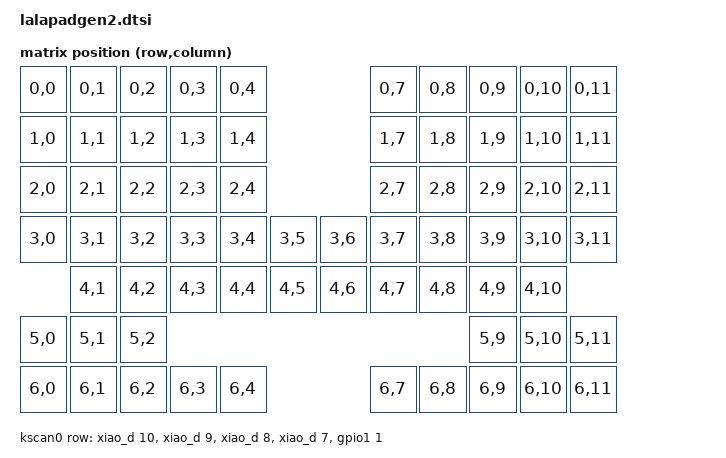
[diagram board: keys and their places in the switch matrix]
#include <dt-bindings/zmk/matrix_transform.h>
#include <dt-bindings/zmk/zip_dynamic_scale.h>
#include <zephyr/dt-bindings/input/input-event-codes.h>
#include <input/processors.dtsi>
#include "lalapadgen2-layouts.dtsi"
#include <behaviors/cursor_slow.dtsi>
#include <behaviors/tp_keys.dtsi>
// トラックパッドのタップ・ジェスチャーを割り当てるキーの位置 POS_TP_*（自作モジュールの C と共通）
#include <dt-bindings/lalapad/tp_positions.h>

/ {
    chosen {
        zmk,physical-layout = &lalapadgen2_physical_layout;
    };

    default_transform: keymap_transform_0 {
        compatible = "zmk,matrix-transform";
        columns = <12>;
        rows = <7>;
        map = <
            RC(0,0)	RC(0,1)	RC(0,2)	RC(0,3)	RC(0,4)	        	    RC(0,7)	RC(0,8)	RC(0,9)	RC(0,10) RC(0,11)
            RC(1,0)	RC(1,1)	RC(1,2)	RC(1,3)	RC(1,4)	       		    RC(1,7)	RC(1,8)	RC(1,9)	RC(1,10) RC(1,11)
            RC(2,0)	RC(2,1)	RC(2,2)	RC(2,3)	RC(2,4)	       		    RC(2,7)	RC(2,8)	RC(2,9)	RC(2,10) RC(2,11)
            RC(3,0)	RC(3,1)	RC(3,2)	RC(3,3)	RC(3,4)	RC(3,5)	RC(3,6)	RC(3,7)	RC(3,8)	RC(3,9)	RC(3,10) RC(3,11)
                    RC(4,1) RC(4,2)	RC(4,3)	RC(4,4)	RC(4,5)	RC(4,6)	RC(4,7)	RC(4,8)	RC(4,9)	RC(4,10)
            RC(5,0)	RC(5,1) RC(5,2)                                                 RC(5,9)	RC(5,10) RC(5,11)
            RC(6,0)	RC(6,1) RC(6,2)	RC(6,3)	RC(6,4)                 RC(6,7)	RC(6,8) RC(6,9)	RC(6,10) RC(6,11)
        >;
    };

    kscan0: kscan {
        compatible = "zmk,kscan-gpio-matrix";
        wakeup-source;

        diode-direction = "col2row";
        row-gpios
            = <&xiao_d 10 (GPIO_ACTIVE_HIGH | GPIO_PULL_DOWN)>
            , <&xiao_d 9 (GPIO_ACTIVE_HIGH | GPIO_PULL_DOWN)>
            , <&xiao_d 8 (GPIO_ACTIVE_HIGH | GPIO_PULL_DOWN)>
            , <&xiao_d 7 (GPIO_ACTIVE_HIGH | GPIO_PULL_DOWN)>
            , <&gpio1  1 (GPIO_ACTIVE_HIGH | GPIO_PULL_DOWN)>
            ;
    };

    // 右のトラックパッドの入力を、子機の右から親機の左へ中継する（右の overlay で device を指定して送る側にする。
    // 親機の左では、受け取った入力を出す入力デバイスになる）。左のトラックパッドは親機に直接つながっているので中継しない
    split_inputs {
        #address-cells = <1>;
        #size-cells = <0>;

        trackpad_split_R: trackpad_split_R@0 {
            compatible = "zmk,input-split";
            reg = <0>;
        };
    };

    behaviors {
        tp_to_pos: tp_to_pos {
            compatible = "zmk,behavior-trackpad-to-pos";
            #binding-cells = <1>;
        };
    };

    trackpad_key_behaviors_R: trackpad_key_behaviors_R {
        compatible = "zmk,input-processor-behaviors-consume";
        #input-processor-cells = <0>;
        type = <INPUT_EV_KEY>;
        codes = <
                    INPUT_BTN_0
                    INPUT_BTN_1
                    INPUT_BTN_2
                    INPUT_BTN_3
                    INPUT_BTN_4
                    INPUT_BTN_5
                    INPUT_BTN_6
                    INPUT_BTN_7
                    >;
        bindings = <
                    &tp_to_pos  POS_TP_LCLK_R
                    &tp_to_pos  POS_TP_RCLK_R
                    &tp_to_pos  POS_TP_MCLK_R
                    &tp_to_pos  POS_TP_SWIPE_RIGHT_R
                    &tp_to_pos  POS_TP_SWIPE_LEFT_R
                    &tp_to_pos  POS_TP_SWIPE_UP_R
                    &tp_to_pos  POS_TP_SWIPE_DOWN_R
                    &tp_to_pos  POS_TP_PINCH_R
                    >;
    };
    trackpad_key_behaviors_L: trackpad_key_behaviors_L {
        compatible = "zmk,input-processor-behaviors-consume";
        #input-processor-cells = <0>;
        type = <INPUT_EV_KEY>;
        codes = <
                    INPUT_BTN_0
                    INPUT_BTN_1
                    INPUT_BTN_2
                    INPUT_BTN_3
                    INPUT_BTN_4
                    INPUT_BTN_5
                    INPUT_BTN_6
                    INPUT_BTN_7
                    >;
        bindings = <
                    &tp_to_pos  POS_TP_LCLK_L
                    &tp_to_pos  POS_TP_RCLK_L
                    &tp_to_pos  POS_TP_MCLK_L
                    &tp_to_pos  POS_TP_SWIPE_RIGHT_L
                    &tp_to_pos  POS_TP_SWIPE_LEFT_L
                    &tp_to_pos  POS_TP_SWIPE_UP_L
                    &tp_to_pos  POS_TP_SWIPE_DOWN_L
                    &tp_to_pos  POS_TP_PINCH_L
                    >;
    };

    zip_dynamic_xy_scaler: zip_dynamic_xy_scaler {
        compatible = "zmk,input-processor-dynamic-scaler";
        #input-processor-cells = <0>;
        type = <INPUT_EV_REL>;
        codes = <INPUT_REL_X INPUT_REL_Y>;
        scale-group = <ZDS_XY>;
        track-remainders;
    };

    zip_dynamic_scroll_scaler: zip_dynamic_scroll_scaler {
        compatible = "zmk,input-processor-dynamic-scaler";
        #input-processor-cells = <0>;
        type = <INPUT_EV_REL>;
        codes = <INPUT_REL_WHEEL INPUT_REL_HWHEEL>;
        scale-group = <ZDS_SC>;
        track-remainders;
    };

    // オートマウスレイヤー: トラックパッド操作でマウスレイヤーを一時的に有効化する（自作: lalapad/src/input_processor_auto_mouse_layer.c）。
    // マウスレイヤーで &trans 以外のキー（&none を含む）と excluded-positions のキーは「マウス操作」として扱い、
    // 押しても解除せず、押している間は時間切れにしない（離してから数え直す）。「マウス操作」でないキーを押すと
    // 即解除し、&trans の位置のキーは下のレイヤー（Default など）のキーとして入力される。
    // 有効にするきっかけはカーソル移動・スクロールだけ（タップ・ジェスチャー、触れただけでは有効にしない）。
    // リスナーの入力処理の最後に入れるので、速度の調整の後の、実際にカーソルが動く量で有効にする。
    // トラックパッドに触れている間も時間切れにしない（離れてから timeout-ms で解除）。触れている合図は
    // ドライバの INPUT_BTN_TOUCH（CONFIG_INPUT_IQS9151_REPORT_TOUCH）で、受け取るデバイスは親機の overlay の touch-devices で指定する。
    // マウスレイヤーに結びつく設定（layer・timeout-ms・excluded-layers・excluded-positions・passive-positions）は
    // keymap に書く（レイヤーの #define は keymap にあり、ここからは見えないため）。
    zip_auto_mouse_layer: zip_auto_mouse_layer {
        compatible = "zmk,input-processor-auto-mouse-layer";
        #input-processor-cells = <0>;
        require-prior-idle-ms = <150>;
    };

    // 左右のトラックパッドのリスナー（親機の overlay で status = "okay" にする。右は子機から中継した入力、
    // 左は親機に直接つながったトラックパッド）。
    // カーソル低速: &zip_cursor_slow は keymap の cur_slow_hold / cur_slow_toggle / cur_slow_once で低速がオンの間だけカーソルを 1/3 にする。
    // レイヤーによって速さは変えない（以前は数字・記号レイヤーの間を遅くしていた）。数字・記号レイヤーの間に
    // マウスレイヤーを新しくオンにしないのは、keymap の &zip_auto_mouse_layer の excluded-layers で行う。
    // トラックパッドをキー操作に変える: &zip_tp_keys は keymap の zmk,behavior-tp-keys・zmk,behavior-tp-stroke のキーを
    // 押している間だけ、動きをキーの入力に変え、タップ・ジェスチャーを捨てる（自作: lalapad/src/tp_keys.c）。
    // タップ・ジェスチャーを捨てるため trackpad_key_behaviors より前に、動きの量を生の値で数えるため scaler より前に、
    // 変えた動きでマウスレイヤーをオンにしないためオートマウスレイヤーより前に、つまり先頭に入れる。
    // INPUT_BTN_TOUCH（触れている／離れた）もここで止める（リスナーは使わない。オートマウスレイヤーは
    // 入力デバイスから直接受け取る）。
    // 左右のリスナーの入力処理の並び（左右で同じにする。違うのはタップ・ジェスチャーの位置と、スクロールスナップの入り口）。
    // key_behaviors: タップ・ジェスチャーをキー位置に変える処理、snap: スクロールスナップ（ふだんは入り口の gate）
    #define LALAPAD_TP_PROCESSORS(key_behaviors, snap)                                                 \
        <&zip_tp_keys>, <&key_behaviors>, <&zip_xy_scaler 1 5>, <&zip_scroll_scaler 1 12>,             \
            <&zip_dynamic_xy_scaler>, <&zip_cursor_slow 1 3>, <&zip_dynamic_scroll_scaler>, <&snap>,   \
            <&zip_auto_mouse_layer>
    trackpad_listener_R: trackpad_listener_R {
        compatible = "zmk,input-listener";
        status = "disabled";
        device = <&trackpad_split_R>;
        input-processors = LALAPAD_TP_PROCESSORS(trackpad_key_behaviors_R, zip_scroll_snap_gate_R);
    };
    trackpad_listener_L: trackpad_listener_L {
        compatible = "zmk,input-listener";
        status = "disabled";
        device = <&iqs9151>;
        input-processors = LALAPAD_TP_PROCESSORS(trackpad_key_behaviors_L, zip_scroll_snap_gate_L);
    };

    aliases {
        led-red = &led0;
        led-green = &led1;
        led-blue = &led2;
    };

    leds {
        compatible = "gpio-leds";
        status = "okay";
        led0: led_0 {
            gpios = <&gpio1 3 GPIO_ACTIVE_LOW>;  // red LED, connected to P1.03
        };
        led1: led_1 {
            gpios = <&gpio1 5 GPIO_ACTIVE_LOW>;  // green LED, connected to P1.05
        };
        led2: led_2 {
            gpios = <&gpio1 7 GPIO_ACTIVE_LOW>;  // blue LED, connected to P1.07
        };
    };

    easy_charge_indicator: easy_charge_indicator {
        compatible = "zmk,easy-charge-indicator";
        status = "okay";
        charge-gpios = <&gpio0 17 GPIO_ACTIVE_LOW>;
        led-gpios = <&gpio0 10 (GPIO_ACTIVE_LOW | GPIO_OPEN_DRAIN)>;
   };
};

// NFC 用のピン（P0.09・P0.10）を普通の GPIO として使う（P0.10 は充電 LED の easy_charge_indicator で使う）。
// Zephyr 3.5 で Kconfig の CONFIG_NFCT_PINS_AS_GPIOS から、この DT のプロパティに移った
&uicr {
    nfct-pins-as-gpios;
};

// TrackPad on I2C
&xiao_i2c {
    status = "okay";

    iqs9151: iqs9151@56 {
        compatible = "azoteq,iqs9151";
        reg = <0x56>;
        status = "okay";
        irq-gpios = <&xiao_d 6 (GPIO_ACTIVE_LOW | GPIO_PULL_UP)>;
    };
};

// スクロールスナップ (kot149/zmk-scroll-snap): 2本指スクロールを近いほうの軸 (X/Y) に揃える。
// ふだんは使わない（斜めスクロールできるように）。keymap の &scr_snap_hold のキーを押している間だけ、
// 各リスナー（trackpad_listener_R / _L）に入れた &zip_scroll_snap_gate_R / _L がここへイベントを渡す
// （レイヤーは使わない。自作: lalapad/src/input_processor_scroll_snap_gate.c）。
// 特定のレイヤーで常に有効にしたいときは、各リスナーに次のような子ノードを追加する
// （<N> はレイヤー番号、_R / _L は左右で合わせる。入り口の gate の代わりに、スクロールスナップを直接入れる）:
//     snapmode {
//         layers = <N>;
//         input-processors = LALAPAD_TP_PROCESSORS(trackpad_key_behaviors_R, zip_scroll_snap_R);
//     };
// 判定状態（サンプル・軸ロック）は左右のトラックパッドで独立させるため、インスタンスを分ける。
// y-threshold <1 1>: |y| > |x| なら Y 軸。x-threshold <101 100>: |y| < 1.01|x| なら X 軸
// （同量のときも X 軸に決まり、出力が 0 にならない）。斜め判定は未実装で出力 0 になるため使わない。
/ {
    zip_scroll_snap_R: zip_scroll_snap_R {
        compatible = "zmk,input-processor-scroll-snap";
        #input-processor-cells = <0>;
        x-threshold = <101 100>;
        y-threshold = <1 1>;
        xy-threshold = <0 0>;
        require-n-samples = <10>;
        immediate-snap-threshold = <1500>;
        lock-duration-ms = <200>;
        lock-for-next-n-events = <10>;
        idle-reset-timeout-ms = <200>;
    };

    zip_scroll_snap_L: zip_scroll_snap_L {
        compatible = "zmk,input-processor-scroll-snap";
        #input-processor-cells = <0>;
        x-threshold = <101 100>;
        y-threshold = <1 1>;
        xy-threshold = <0 0>;
        require-n-samples = <10>;
        immediate-snap-threshold = <1500>;
        lock-duration-ms = <200>;
        lock-for-next-n-events = <10>;
        idle-reset-timeout-ms = <200>;
    };

    // &scr_snap_hold のキーを押している間だけ、上のスクロールスナップにイベントを渡す入り口
    zip_scroll_snap_gate_R: zip_scroll_snap_gate_R {
        compatible = "zmk,input-processor-scroll-snap-gate";
        #input-processor-cells = <0>;
        processor = <&zip_scroll_snap_R>;
    };

    zip_scroll_snap_gate_L: zip_scroll_snap_gate_L {
        compatible = "zmk,input-processor-scroll-snap-gate";
        #input-processor-cells = <0>;
        processor = <&zip_scroll_snap_L>;
    };
};
